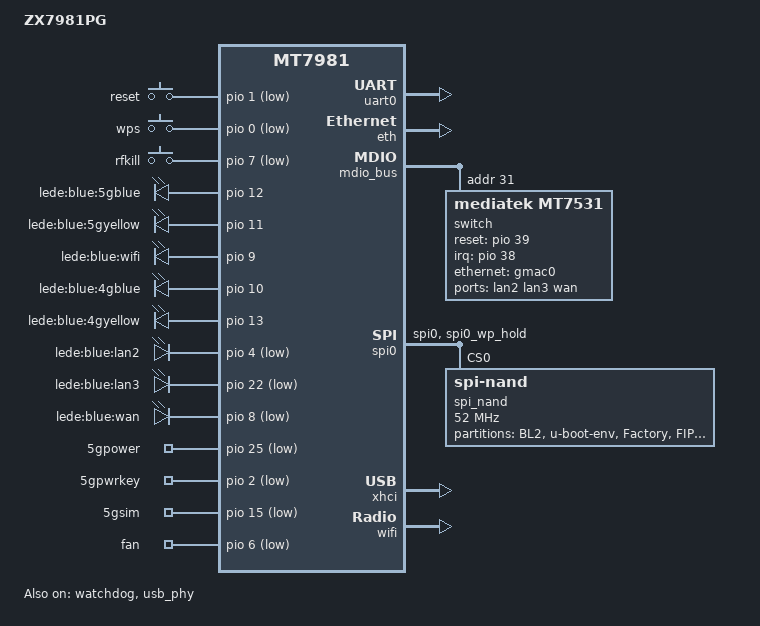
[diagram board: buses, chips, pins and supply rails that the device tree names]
// SPDX-License-Identifier: GPL-2.0-or-later OR MIT
/*
 * ZX7981PG -- MT7981B 5G CPE (SPI-NAND)
 *
 * Ported from zx-openwrt-port 25.12.5
 *   target/linux/mediatek/dts/mt7981b-ZX7981PG.dts
 * to the padavan-arm Linux 5.15.167 kernel tree.
 *
 * Adaptation notes vs. the OpenWrt 6.12 source:
 *  - includes "mt7981.dtsi"; this tree has no mt7981b.dtsi
 *  - GPIO flags spelled out as GPIO_ACTIVE_LOW / GPIO_ACTIVE_HIGH
 *  - WiFi calibration data read via "mediatek,mtd-eeprom" (the mt76
 *    binding used on 5.15) instead of an nvmem "eeprom" cell
 *  - fixed the mislabelled ubi partition node (partition@620000 -> @580000)
 *  - no memory node: the vendor U-Boot injects /memory on this board
 */

/dts-v1/;

#include <dt-bindings/gpio/gpio.h>
#include <dt-bindings/input/input.h>

#include "mt7981.dtsi"

/ {
	model = "ZX7981PG";
	compatible = "ZX7981PG", "mediatek,mt7981";

	aliases {
		label-mac-device = &wan;
		serial0 = &uart0;
	};

	chosen {
		stdout-path = "serial0:115200n8";
	};

	gpio-keys {
		compatible = "gpio-keys";

		button-reset {
			label = "reset";
			gpios = <&pio 1 GPIO_ACTIVE_LOW>;
			linux,code = <KEY_RESTART>;
		};

		button-wps {
			label = "wps";
			gpios = <&pio 0 GPIO_ACTIVE_LOW>;
			linux,code = <KEY_WPS_BUTTON>;
		};

		button-rfkill {
			label = "rfkill";
			gpios = <&pio 7 GPIO_ACTIVE_LOW>;
			linux,code = <KEY_RFKILL>;
		};
	};

	gpio-leds {
		compatible = "gpio-leds";

		led-5g-blue {
			label = "lede:blue:5gblue";
			gpios = <&pio 12 GPIO_ACTIVE_HIGH>;
			default-state = "off";
		};

		led-5g-yellow {
			label = "lede:blue:5gyellow";
			gpios = <&pio 11 GPIO_ACTIVE_HIGH>;
			default-state = "off";
		};

		led-wifi {
			label = "lede:blue:wifi";
			gpios = <&pio 9 GPIO_ACTIVE_HIGH>;
			default-state = "off";
		};

		led-4g-blue {
			label = "lede:blue:4gblue";
			gpios = <&pio 10 GPIO_ACTIVE_HIGH>;
			default-state = "off";
		};

		led-4g-yellow {
			label = "lede:blue:4gyellow";
			gpios = <&pio 13 GPIO_ACTIVE_HIGH>;
			default-state = "off";
		};

		led-lan2 {
			label = "lede:blue:lan2";
			gpios = <&pio 4 GPIO_ACTIVE_LOW>;
			default-state = "off";
		};

		led-lan3 {
			label = "lede:blue:lan3";
			gpios = <&pio 22 GPIO_ACTIVE_LOW>;
			default-state = "off";
		};

		led-wan {
			label = "lede:blue:wan";
			gpios = <&pio 8 GPIO_ACTIVE_LOW>;
			default-state = "off";
		};
	};

	gpio-export {
		compatible = "gpio-export";

		gpio-5g-power {
			gpio-export,name = "5gpower";
			gpio-export,output = <0>;
			gpios = <&pio 25 GPIO_ACTIVE_LOW>;
		};

		gpio-5g-pwrkey {
			gpio-export,name = "5gpwrkey";
			gpio-export,output = <0>;
			gpios = <&pio 2 GPIO_ACTIVE_LOW>;
		};

		gpio-5g-sim {
			gpio-export,name = "5gsim";
			gpio-export,output = <1>;
			gpios = <&pio 15 GPIO_ACTIVE_LOW>;
		};

		gpio-fan {
			gpio-export,name = "fan";
			gpio-export,output = <1>;
			gpios = <&pio 6 GPIO_ACTIVE_LOW>;
		};
	};
};

&uart0 {
	status = "okay";
};

&watchdog {
	status = "okay";
};

&eth {
	status = "okay";

	gmac0: mac@0 {
		compatible = "mediatek,eth-mac";
		reg = <0>;
		phy-mode = "2500base-x";

		nvmem-cells = <&macaddr_factory_4 (-1)>;
		nvmem-cell-names = "mac-address";

		fixed-link {
			speed = <2500>;
			full-duplex;
			pause;
		};
	};
};

&mdio_bus {
	switch: switch@1f {
		compatible = "mediatek,mt7531";
		reg = <0x1f>;
		reset-gpios = <&pio 39 GPIO_ACTIVE_HIGH>;
		interrupt-controller;
		#interrupt-cells = <1>;
		interrupt-parent = <&pio>;
		interrupts = <38 IRQ_TYPE_LEVEL_HIGH>;
	};
};

&switch {
	ports {
		#address-cells = <1>;
		#size-cells = <0>;

		port@1 {
			reg = <1>;
			label = "lan2";
		};

		port@2 {
			reg = <2>;
			label = "lan3";
		};

		wan: port@3 {
			reg = <3>;
			label = "wan";
		};

		port@6 {
			reg = <6>;
			ethernet = <&gmac0>;
			phy-mode = "2500base-x";

			fixed-link {
				speed = <2500>;
				full-duplex;
				pause;
			};
		};
	};
};

&spi0 {
	pinctrl-names = "default";
	pinctrl-0 = <&spi0_flash_pins>;
	status = "okay";

	spi_nand: flash@0 {
		#address-cells = <1>;
		#size-cells = <1>;
		compatible = "spi-nand";
		reg = <0>;
		spi-max-frequency = <52000000>;
		spi-tx-bus-width = <4>;
		spi-rx-bus-width = <4>;

		mediatek,nmbm;
		mediatek,bmt-max-ratio = <1>;
		mediatek,bmt-max-reserved-blocks = <64>;

		partitions {
			compatible = "fixed-partitions";
			#address-cells = <1>;
			#size-cells = <1>;

			partition@0 {
				label = "BL2";
				reg = <0x00000 0x0100000>;
				read-only;
			};

			partition@100000 {
				label = "u-boot-env";
				reg = <0x0100000 0x0080000>;
			};

			factory: partition@180000 {
				label = "Factory";
				reg = <0x180000 0x200000>;
				read-only;

				compatible = "nvmem-cells";
				nvmem-layout {
					compatible = "fixed-layout";
					#address-cells = <1>;
					#size-cells = <1>;

					eeprom_factory_0: eeprom@0 {
						reg = <0x0 0x1000>;
					};

					macaddr_factory_4: macaddr@4 {
						compatible = "mac-base";
						reg = <0x4 0x6>;
						#nvmem-cell-cells = <1>;
					};
				};
			};

			partition@380000 {
				label = "FIP";
				reg = <0x380000 0x0200000>;
			};

			partition@580000 {
				label = "ubi";
				reg = <0x580000 0x70A0000>;
			};

			partition@7620000 {
				label = "wtinfo";
				reg = <0x7620000 0x60000>;
			};

			partition@7680000 {
				label = "nvram";
				reg = <0x7680000 0x60000>;
			};
		};
	};
};

&pio {
	spi0_flash_pins: spi0-pins {
		mux {
			function = "spi";
			groups = "spi0", "spi0_wp_hold";
		};
	};
};

&usb_phy {
	status = "okay";
};

&xhci {
	status = "okay";
};

&wifi {
	mediatek,mtd-eeprom = <&factory 0x0>;
	status = "okay";
};
